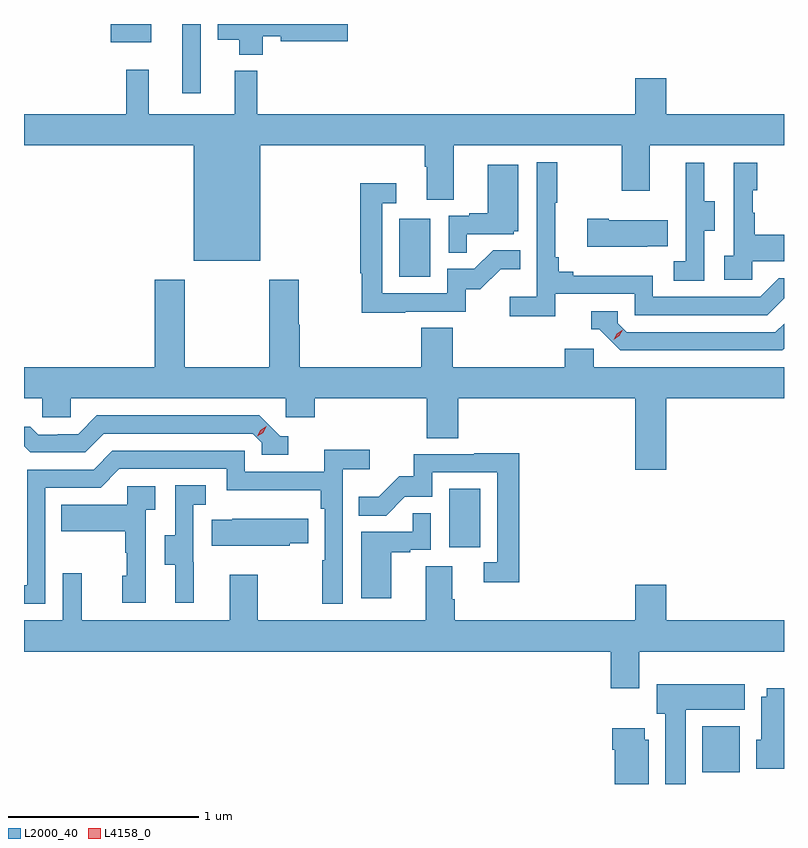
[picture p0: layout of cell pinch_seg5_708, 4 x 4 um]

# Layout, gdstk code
import gdstk
lib = gdstk.Library(unit=1e-6, precision=1e-09)
def R(c, l, rs):  # rectangles x0, y0, x1, y1
    for r in rs: c.add(gdstk.rectangle(r[:2], r[2:], *l))
def P(c, l, *ps):  # polygons
    for p in ps: c.add(gdstk.Polygon(p, *l))
L2000_40 = (2000, 40)
L4158_0 = (4158, 0)

pinch_seg5_708 = lib.new_cell('pinch_seg5_708')
R(pinch_seg5_708, L2000_40, [(1136.39,845.468,1136.587,845.71), (1135.058,846.654,1135.222,846.961), (1134.794,848.076,1134.958,848.383), (1133.654,849.042,1133.751,849.407), (1133.276,849.311,1133.491,849.407)])
P(pinch_seg5_708, L2000_40, [(1134.076,849.342),(1134.17,849.342),(1134.17,849.316),(1134.523,849.316),(1134.523,849.407),(1133.84,849.407),(1133.84,849.323),(1133.954,849.323),(1133.954,849.245),(1134.076,849.245)],
  [(1134.064,848.768),(1134.929,848.768),(1134.929,848.656),(1134.941,848.656),(1134.941,848.482),(1135.081,848.482),(1135.081,848.768),(1135.966,848.768),(1135.966,848.529),(1136.113,848.529),(1136.113,848.768),(1136.82,848.768),(1136.82,848.932),(1136.2,848.932),(1136.2,849.121),(1136.036,849.121),(1136.036,848.932),(1134.047,848.932),(1134.047,849.16),(1133.93,849.16),(1133.93,848.932),(1133.477,848.932),(1133.477,849.166),(1133.359,849.166),(1133.359,848.932),(1132.82,848.932),(1132.82,848.768),(1133.714,848.768),(1133.714,848.162),(1134.064,848.162)],
  [(1135.616,847.986),(1136.034,847.986),(1136.034,847.875),(1136.731,847.875),(1136.82,847.964),(1136.82,848.07),(1136.793,848.07),(1136.694,847.971),(1136.13,847.971),(1136.13,848.083),(1135.711,848.083),(1135.711,848.102),(1135.634,848.102),(1135.634,848.179),(1135.615,848.179),(1135.615,848.467),(1135.627,848.467),(1135.627,848.68),(1135.518,848.68),(1135.518,847.972),(1135.377,847.972),(1135.377,847.87),(1135.616,847.87)],
  [(1136.652,848.159),(1136.82,848.159),(1136.82,848.299),(1136.665,848.299),(1136.665,848.414),(1136.655,848.414),(1136.655,848.532),(1136.68,848.532),(1136.68,848.677),(1136.556,848.677),(1136.556,848.186),(1136.505,848.186),(1136.505,848.061),(1136.652,848.061)],
  [(1136.4,848.32),(1136.455,848.32),(1136.455,848.475),(1136.401,848.475),(1136.401,848.677),(1136.303,848.677),(1136.303,848.463),(1136.304,848.463),(1136.304,848.159),(1136.241,848.159),(1136.241,848.056),(1136.4,848.056)],
  [(1135.151,848.301),(1135.398,848.301),(1135.398,848.316),(1135.42,848.316),(1135.42,848.665),(1135.262,848.665),(1135.262,848.41),(1135.163,848.41),(1135.163,848.397),(1135.056,848.397),(1135.056,848.203),(1135.151,848.203)],
  [(1134.827,847.893),(1135.146,847.893),(1135.146,848.01),(1135.222,848.01),(1135.329,848.117),(1135.433,848.117),(1135.433,848.216),(1135.289,848.216),(1135.191,848.118),(1135.047,848.118),(1135.047,847.989),(1134.705,847.989),(1134.705,848.463),(1134.778,848.463),(1134.778,848.569),(1134.589,848.569),(1134.589,848.096),(1134.597,848.096),(1134.597,847.888),(1134.827,847.888)],
  [(1136.099,848.237),(1136.207,848.237),(1136.207,848.374),(1135.897,848.374),(1135.897,848.382),(1135.785,848.382),(1135.785,848.234),(1136.099,848.234)],
  [(1136.2,847.436),(1136.82,847.436),(1136.82,847.6),(1135.818,847.6),(1135.818,847.698),(1135.667,847.698),(1135.667,847.6),(1135.076,847.6),(1135.076,847.808),(1134.911,847.808),(1134.911,847.6),(1134.272,847.6),(1134.272,847.823),(1134.267,847.823),(1134.267,848.062),(1134.112,848.062),(1134.112,847.6),(1133.667,847.6),(1133.667,848.062),(1133.507,848.062),(1133.507,847.6),(1132.82,847.6),(1132.82,847.436),(1132.917,847.436),(1132.917,847.338),(1133.067,847.338),(1133.067,847.436),(1134.198,847.436),(1134.198,847.338),(1134.35,847.338),(1134.35,847.436),(1134.941,847.436),(1134.941,847.228),(1135.106,847.228),(1135.106,847.436),(1136.036,847.436),(1136.036,847.062),(1136.2,847.062)],
  [(1136.82,847.697),(1136.82,847.83),(1136.775,847.785),(1135.992,847.785),(1135.944,847.833),(1135.944,847.896),(1135.805,847.896),(1135.805,847.8),(1135.848,847.8),(1135.959,847.689),(1136.812,847.689)],
  [(1134.211,847.236),(1134.168,847.236),(1134.057,847.347),(1133.204,847.347),(1133.105,847.248),(1132.998,847.248),(1132.998,847.245),(1132.895,847.245),(1132.853,847.288),(1132.82,847.288),(1132.82,847.185),(1132.853,847.152),(1133.142,847.152),(1133.241,847.251),(1134.024,847.251),(1134.072,847.203),(1134.072,847.14),(1134.211,847.14)],
  [(1132.932,846.966),(1133.223,846.966),(1133.322,847.065),(1133.886,847.065),(1133.886,846.953),(1134.382,846.953),(1134.382,846.857),(1134.402,846.857),(1134.402,846.584),(1134.39,846.584),(1134.39,846.357),(1134.498,846.357),(1134.498,847.064),(1134.64,847.064),(1134.64,847.166),(1134.401,847.166),(1134.401,847.05),(1133.982,847.05),(1133.982,847.161),(1133.285,847.161),(1133.186,847.062),(1132.836,847.062),(1132.836,846.453),(1132.82,846.453),(1132.82,846.357),(1132.932,846.357)],
  [(1135.427,847.148),(1135.189,847.148),(1135.189,847.143),(1134.871,847.143),(1134.871,847.026),(1134.794,847.026),(1134.687,846.919),(1134.583,846.919),(1134.583,846.82),(1134.727,846.82),(1134.825,846.918),(1134.969,846.918),(1134.969,847.047),(1135.311,847.047),(1135.311,846.573),(1135.239,846.573),(1135.239,846.468),(1135.427,846.468)],
  [(1133.714,846.573),(1133.712,846.573),(1133.712,846.877),(1133.776,846.877),(1133.776,846.98),(1133.616,846.98),(1133.616,846.717),(1133.561,846.717),(1133.561,846.562),(1133.615,846.562),(1133.615,846.36),(1133.714,846.36)],
  [(1133.46,846.851),(1133.512,846.851),(1133.512,846.975),(1133.364,846.975),(1133.364,846.877),(1133.017,846.877),(1133.017,846.737),(1133.352,846.737),(1133.352,846.623),(1133.362,846.623),(1133.362,846.504),(1133.336,846.504),(1133.336,846.36),(1133.46,846.36)],
  [(1134.754,846.627),(1134.854,846.627),(1134.854,846.639),(1134.96,846.639),(1134.96,846.833),(1134.865,846.833),(1134.865,846.735),(1134.596,846.735),(1134.596,846.384),(1134.754,846.384)],
  [(1134.219,846.673),(1134.317,846.673),(1134.317,846.802),(1133.917,846.802),(1133.917,846.799),(1133.809,846.799),(1133.809,846.662),(1134.219,846.662)],
  [(1136.059,846.104),(1136.82,846.104),(1136.82,846.268),(1136.2,846.268),(1136.2,846.457),(1136.036,846.457),(1136.036,846.268),(1135.088,846.268),(1135.088,846.38),(1135.075,846.38),(1135.075,846.554),(1134.935,846.554),(1134.935,846.268),(1134.051,846.268),(1134.051,846.508),(1133.903,846.508),(1133.903,846.268),(1133.123,846.268),(1133.123,846.517),(1133.025,846.517),(1133.025,846.268),(1132.82,846.268),(1132.82,846.104),(1135.907,846.104),(1135.907,845.91),(1136.059,845.91)],
  [(1136.302,845.798),(1136.614,845.798),(1136.614,845.932),(1136.15,845.932),(1136.15,845.778),(1136.195,845.778),(1136.195,845.407),(1136.302,845.407)],
  [(1136.82,845.911),(1136.729,845.911),(1136.729,845.866),(1136.699,845.866),(1136.699,845.64),(1136.675,845.64),(1136.675,845.486),(1136.82,845.486)],
  [(1136.107,845.64),(1136.086,845.64),(1136.086,845.701),(1135.916,845.701),(1135.916,845.588),(1135.928,845.588),(1135.928,845.407),(1136.107,845.407)])
P(pinch_seg5_708, L4158_0, [(1135.923,847.745),(1135.923,847.746),(1135.939,847.778),(1135.97,847.797),(1135.97,847.797),(1135.97,847.797),(1135.954,847.765),(1135.923,847.745)],
  [(1134.048,847.238),(1134.048,847.238),(1134.064,847.27),(1134.095,847.289),(1134.096,847.289),(1134.096,847.288),(1134.079,847.256),(1134.048,847.238)])

lib.write_gds('pinch_seg5_708.gds')
